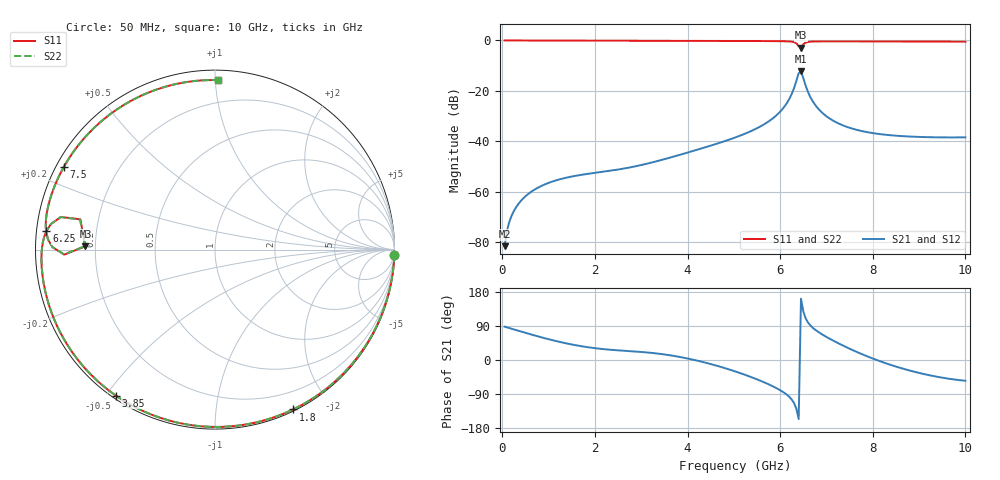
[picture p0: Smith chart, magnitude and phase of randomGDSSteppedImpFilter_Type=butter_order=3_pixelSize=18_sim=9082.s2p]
! freq	dB(S11)	phase(S11)	dB(S12)	phase(S12)
!  dB(S21)	phase(S21)	dB(S22)	phase(S22)
!S-par simulation data
#  GHz  S  DB  R 50
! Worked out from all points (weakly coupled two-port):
!   200 points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, 50 MHz to 10 GHz, reference 50 ohm
!   highest |S21| = -12.27 dB at 6.45 GHz (marker M1); lowest = -81.5 dB at 50 MHz (marker M2)
!   lowest |S11| = -2.8 dB at 6.45 GHz (marker M3), VSWR 6.20, Z = 8.07 + j0.619 ohm
!   |S11| at or under -10 dB: nowhere
!   |S22| runs from -2.8 to 0.0 dB; largest |S21 - S12| = 0
!   S11 on the Smith chart (normalised r, x): 50 MHz: 0, -61; 1.8 GHz: 0.02, -1.60; 3.85 GHz: 0.01, -0.53; 6.25 GHz: 0.03, +0.06; 7.5 GHz: 0.02, +0.26; 10 GHz: 0.06, +1.02
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0.05  -0.00 -1.9  -81.46 87.9  -81.46 87.9  -0.00 -1.9
0.2  -0.01 -7.5  -69.45 82.5  -69.45 82.5  -0.01 -7.5
0.5  -0.02 -18.5  -61.70 71.7  -61.70 71.7  -0.02 -18.5
1  -0.05 -36.6  -56.39 54.9  -56.39 54.9  -0.05 -36.6
1.75  -0.08 -62.4  -53.09 35.5  -53.09 35.5  -0.08 -62.3
1.8  -0.08 -64.0  -52.95 34.6  -52.95 34.6  -0.08 -64.0
2.55  -0.10 -87.7  -50.96 25.0  -50.96 25.0  -0.10 -87.7
3.4  -0.13 -112.1  -47.51 16.3  -47.51 16.3  -0.13 -112.1
3.85  -0.15 -124.1  -45.20 7.7  -45.20 7.7  -0.15 -124.1
5.05  -0.20 -154.1  -38.28 -30.9  -38.28 -30.9  -0.20 -154.1
5.85  -0.26 -173.8  -30.73 -69.9  -30.73 -69.9  -0.26 -173.7
6.1  -0.32 179.2  -26.00 -87.4  -26.00 -87.4  -0.32 179.3
6.25  -0.49 173.6  -21.19 -104.2  -21.19 -104.2  -0.49 173.7
6.4  -2.28 167.3  -12.97 -155.9  -12.97 -155.9  -2.26 167.4
6.45  -2.83 178.5  -12.27 161.7  -12.27 161.7  -2.80 178.5
6.55  -0.87 179.2  -17.90 110.1  -17.90 110.1  -0.86 179.1
6.7  -0.43 172.4  -23.98 85.5  -23.98 85.5  -0.43 172.4
7  -0.35 163.7  -30.02 60.8  -30.02 60.8  -0.35 163.6
7.5  -0.35 151.3  -34.60 29.7  -34.60 29.7  -0.35 151.3
8.35  -0.40 130.9  -37.48 -11.5  -37.48 -11.5  -0.40 130.8
9.2  -0.45 109.8  -38.31 -39.7  -38.31 -39.7  -0.45 109.7
10  -0.50 89.0  -38.36 -54.8  -38.36 -54.8  -0.50 89.0
